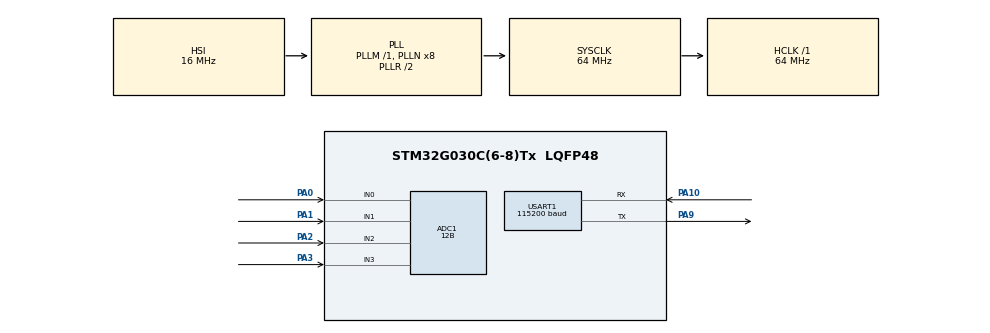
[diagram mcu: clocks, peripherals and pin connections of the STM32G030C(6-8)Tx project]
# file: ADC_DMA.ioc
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ADC1.Channel-0\#ChannelRegularConversion=ADC_CHANNEL_0
ADC1.Channel-1\#ChannelRegularConversion=ADC_CHANNEL_1
ADC1.Channel-2\#ChannelRegularConversion=ADC_CHANNEL_2
ADC1.Channel-3\#ChannelRegularConversion=ADC_CHANNEL_3
ADC1.Channel-IN0=ADC_CHANNEL_0
ADC1.Channel-IN1=ADC_CHANNEL_1
ADC1.Channel-IN2=ADC_CHANNEL_2
ADC1.Channel-IN3=ADC_CHANNEL_3
ADC1.ClockPrescaler=ADC_CLOCK_SYNC_PCLK_DIV4
ADC1.ContinuousConvMode=ENABLE
ADC1.DMAContinuousRequests=DISABLE
ADC1.DataAlign=ADC_DATAALIGN_RIGHT
ADC1.DiscontinuousConvMode=DISABLE
ADC1.EOCSelection=ADC_EOC_SINGLE_CONV
ADC1.EnableAnalogWatchDog1=false
ADC1.EnableAnalogWatchDog2=false
ADC1.EnableAnalogWatchDog3=false
ADC1.ExternalTrigConv=ADC_SOFTWARE_START
ADC1.ExternalTrigConvEdge=ADC_EXTERNALTRIGCONVEDGE_NONE
ADC1.LowPowerAutoPowerOff=DISABLE
ADC1.LowPowerAutoWait=DISABLE
ADC1.NbrOfConversion=4
ADC1.Overrun=ADC_OVR_DATA_PRESERVED
ADC1.OversamplingMode=DISABLE
ADC1.Rank-0\#ChannelRegularConversion=1
ADC1.Rank-1\#ChannelRegularConversion=2
ADC1.Rank-2\#ChannelRegularConversion=3
ADC1.Rank-3\#ChannelRegularConversion=4
ADC1.Resolution=ADC_RESOLUTION_12B
ADC1.SamplingTime-0\#ChannelRegularConversion=ADC_SAMPLINGTIME_COMMON_1
ADC1.SamplingTime-1\#ChannelRegularConversion=ADC_SAMPLINGTIME_COMMON_1
ADC1.SamplingTime-2\#ChannelRegularConversion=ADC_SAMPLINGTIME_COMMON_1
ADC1.SamplingTime-3\#ChannelRegularConversion=ADC_SAMPLINGTIME_COMMON_1
ADC1.SamplingTimeCommon1=ADC_SAMPLETIME_1CYCLE_5
ADC1.SamplingTimeCommon2=ADC_SAMPLETIME_1CYCLE_5
ADC1.ScanConvMode=ADC_SCAN_ENABLE
ADC1.SelectedChannel=ADC_CHANNEL_0|ADC_CHANNEL_1|ADC_CHANNEL_2|ADC_CHANNEL_3
ADC1.Sequencer=FULLY_CONFIGURABLE
ADC1.TriggerFrequencyMode=ADC_TRIGGER_FREQ_HIGH
ADC1.master=1
Dma.ADC1.0.Direction=DMA_PERIPH_TO_MEMORY
Dma.ADC1.0.EventEnable=DISABLE
Dma.ADC1.0.Instance=DMA1_Channel1
Dma.ADC1.0.MemDataAlignment=DMA_MDATAALIGN_HALFWORD
Dma.ADC1.0.MemInc=DMA_MINC_ENABLE
Dma.ADC1.0.Mode=DMA_CIRCULAR
Dma.ADC1.0.PeriphDataAlignment=DMA_PDATAALIGN_HALFWORD
Dma.ADC1.0.PeriphInc=DMA_PINC_DISABLE
Dma.ADC1.0.Polarity=HAL_DMAMUX_REQ_GEN_RISING
Dma.ADC1.0.Priority=DMA_PRIORITY_LOW
Dma.ADC1.0.RequestNumber=1
Dma.ADC1.0.SignalID=NONE
Dma.ADC1.0.SyncEnable=DISABLE
Dma.ADC1.0.SyncPolarity=HAL_DMAMUX_SYNC_NO_EVENT
Dma.ADC1.0.SyncRequestNumber=1
Dma.ADC1.0.SyncSignalID=NONE
Dma.Request0=ADC1
Mcu.Family=STM32G0
Mcu.Name=STM32G030C(6-8)Tx
Mcu.Package=LQFP48
NVIC.DMA1_Channel1_IRQn=true\:0\:0\:false\:false\:true\:false\:true
PA0.Mode=IN0
PA0.Signal=ADC1_IN0
PA1.Mode=IN1
PA1.Signal=ADC1_IN1
PA10.Mode=Asynchronous
PA10.Signal=USART1_RX
PA2.Mode=IN2
PA2.Signal=ADC1_IN2
PA3.Mode=IN3
PA3.Signal=ADC1_IN3
PA9.Mode=Asynchronous
PA9.Signal=USART1_TX
ProjectManager.HeapSize=0x200
ProjectManager.StackSize=0x400
ProjectManager.TargetToolchain=MDK-ARM V5.32
RCC.ADCFreq_Value=64000000
RCC.AHBFreq_Value=64000000
RCC.CortexFreq_Value=64000000
RCC.EXTERNAL_CLOCK_VALUE=12288000
RCC.FLatency=FLASH_LATENCY_2
RCC.HCLKFreq_Value=64000000
RCC.HSE_VALUE=8000000
RCC.HSI_VALUE=16000000
RCC.LSE_VALUE=32768
RCC.SYSCLKFreq_VALUE=64000000
RCC.SYSCLKSource=RCC_SYSCLKSOURCE_PLLCLK
RCC.VCOOutputFreq_Value=128000000
USART1.AutoBaudRateEnableParam=UART_ADVFEATURE_AUTOBAUDRATE_DISABLE
USART1.BaudRate=115200
USART1.ClockPrescaler=PRESCALER_DIV1
USART1.DMADisableonRxErrorParam=ADVFEATURE_DMA_ENABLEONRXERROR
USART1.DataInvertParam=ADVFEATURE_DATAINV_DISABLE
USART1.FIFOMode=FIFOMODE_DISABLE
USART1.MSBFirstParam=ADVFEATURE_MSBFIRST_DISABLE
USART1.Mode=MODE_TX_RX
USART1.OneBitSampling=UART_ONE_BIT_SAMPLE_DISABLE
USART1.OverSampling=UART_OVERSAMPLING_16
USART1.OverrunDisableParam=ADVFEATURE_OVERRUN_ENABLE
USART1.Parity=PARITY_NONE
USART1.RXFIFOThreshold=RXFIFO_THRESHOLD_1EIGHTHFULL
USART1.RxPinLevelInvertParam=ADVFEATURE_RXINV_DISABLE
USART1.StopBits=STOPBITS_1
USART1.SwapParam=ADVFEATURE_SWAP_DISABLE
USART1.TXFIFOThreshold=TXFIFO_THRESHOLD_1EIGHTHFULL
USART1.TxPinLevelInvertParam=ADVFEATURE_TXINV_DISABLE
USART1.VirtualMode-Asynchronous=VM_ASYNC
USART1.WordLength=WORDLENGTH_8B
board=custom

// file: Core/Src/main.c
/* USER CODE BEGIN Header */
/**
  ******************************************************************************
  * @file           : main.c
  * @brief          : Main program body
  ******************************************************************************
  * @attention
  *
  * <h2><center>&copy; Copyright (c) 2021 STMicroelectronics.
  * All rights reserved.</center></h2>
  *
  * This software component is licensed by ST under BSD 3-Clause license,
  * the "License"; You may not use this file except in compliance with the
  * License. You may obtain a copy of the License at:
  *                        opensource.org/licenses/BSD-3-Clause
  *
  ******************************************************************************
  */
/* USER CODE END Header */
#include "main.h"
#include "adc.h"
#include "dma.h"
#include "usart.h"
#include "gpio.h"

/* USER CODE BEGIN Includes */
#include <stdio.h>

/* USER CODE END Includes */

/* USER CODE BEGIN PV */
#define ADC_BUFFER_SIZE   4
__IO uint16_t   adc_dma_buffer[ADC_BUFFER_SIZE];
__IO float   		voltage[ADC_BUFFER_SIZE];

/* USER CODE END PV */

void SystemClock_Config(void);

/* USER CODE BEGIN 0 */
int fputc(int ch, FILE *f)
{
    HAL_UART_Transmit(&huart1, (uint8_t *)&ch, 1, 1000);

    return ch;
}

/* USER CODE END 0 */

int main(void)
{

  /* MCU Configuration--------------------------------------------------------*/

  /* Reset of all peripherals, Initializes the Flash interface and the Systick. */
  HAL_Init();

  /* Configure the system clock */
  SystemClock_Config();

  /* Initialize all configured peripherals */
  MX_GPIO_Init();
  MX_DMA_Init();
  MX_ADC1_Init();
  MX_USART1_UART_Init();
  /* USER CODE BEGIN 2 */
	HAL_ADCEx_Calibration_Start(&hadc1);
	HAL_ADC_Start_DMA(&hadc1, (uint32_t *)&adc_dma_buffer, ADC_BUFFER_SIZE);
  /* USER CODE END 2 */

  /* Infinite loop */
  /* USER CODE BEGIN WHILE */
  while (1)
  {
		for(int i=0; i<ADC_BUFFER_SIZE; i++) {
			voltage[i] = (float)adc_dma_buffer[i] * (3.3/4096);
			printf("voltage PA%1d : %.2fv\r\n", i, voltage[i]);
		}
		printf("\r\n");

		HAL_ADC_Start_DMA(&hadc1, (uint32_t *)&adc_dma_buffer, ADC_BUFFER_SIZE);
		HAL_Delay(500);
    /* USER CODE END WHILE */

  }
}

void SystemClock_Config(void)
{
  RCC_OscInitTypeDef RCC_OscInitStruct = {0};
  RCC_ClkInitTypeDef RCC_ClkInitStruct = {0};
  RCC_PeriphCLKInitTypeDef PeriphClkInit = {0};

  /** Configure the main internal regulator output voltage
  */
  HAL_PWREx_ControlVoltageScaling(PWR_REGULATOR_VOLTAGE_SCALE1);
  /** Initializes the RCC Oscillators according to the specified parameters
  * in the RCC_OscInitTypeDef structure.
  */
  RCC_OscInitStruct.OscillatorType = RCC_OSCILLATORTYPE_HSI;
  RCC_OscInitStruct.HSIState = RCC_HSI_ON;
  RCC_OscInitStruct.HSIDiv = RCC_HSI_DIV1;
  RCC_OscInitStruct.HSICalibrationValue = RCC_HSICALIBRATION_DEFAULT;
  RCC_OscInitStruct.PLL.PLLState = RCC_PLL_ON;
  RCC_OscInitStruct.PLL.PLLSource = RCC_PLLSOURCE_HSI;
  RCC_OscInitStruct.PLL.PLLM = RCC_PLLM_DIV1;
  RCC_OscInitStruct.PLL.PLLN = 8;
  RCC_OscInitStruct.PLL.PLLP = RCC_PLLP_DIV2;
  RCC_OscInitStruct.PLL.PLLR = RCC_PLLR_DIV2;
  if (HAL_RCC_OscConfig(&RCC_OscInitStruct) != HAL_OK)
  {
    Error_Handler();
  }
  /** Initializes the CPU, AHB and APB buses clocks
  */
  RCC_ClkInitStruct.ClockType = RCC_CLOCKTYPE_HCLK|RCC_CLOCKTYPE_SYSCLK
                              |RCC_CLOCKTYPE_PCLK1;
  RCC_ClkInitStruct.SYSCLKSource = RCC_SYSCLKSOURCE_PLLCLK;
  RCC_ClkInitStruct.AHBCLKDivider = RCC_SYSCLK_DIV1;
  RCC_ClkInitStruct.APB1CLKDivider = RCC_HCLK_DIV1;

  if (HAL_RCC_ClockConfig(&RCC_ClkInitStruct, FLASH_LATENCY_2) != HAL_OK)
  {
    Error_Handler();
  }
  /** Initializes the peripherals clocks
  */
  PeriphClkInit.PeriphClockSelection = RCC_PERIPHCLK_USART1|RCC_PERIPHCLK_ADC;
  PeriphClkInit.Usart1ClockSelection = RCC_USART1CLKSOURCE_PCLK1;
  PeriphClkInit.AdcClockSelection = RCC_ADCCLKSOURCE_SYSCLK;
  if (HAL_RCCEx_PeriphCLKConfig(&PeriphClkInit) != HAL_OK)
  {
    Error_Handler();
  }
}

void Error_Handler(void)
{
  __disable_irq();
  while (1)
  {
  }
}

/************************ (C) COPYRIGHT STMicroelectronics *****END OF FILE****/
